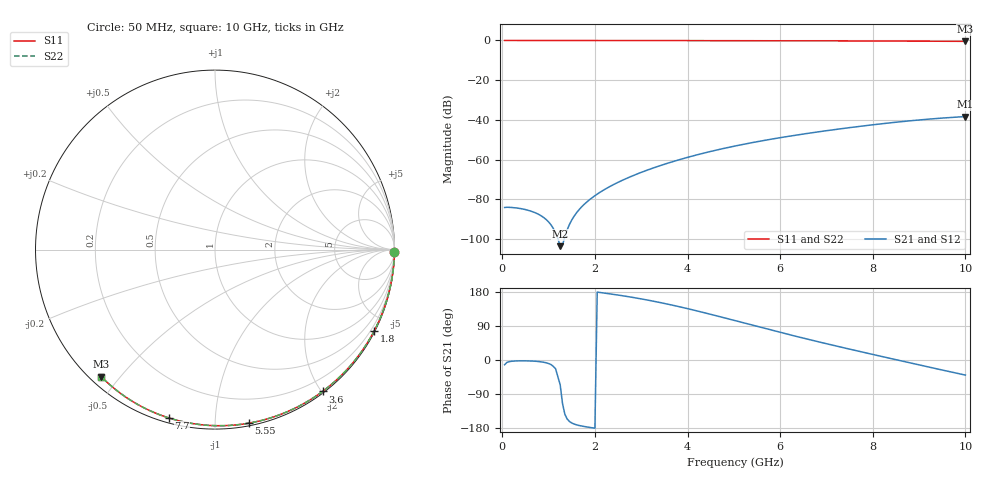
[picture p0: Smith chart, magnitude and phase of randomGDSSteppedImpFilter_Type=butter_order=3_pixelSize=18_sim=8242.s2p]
! freq	dB(S11)	phase(S11)	dB(S12)	phase(S12)
!  dB(S21)	phase(S21)	dB(S22)	phase(S22)
!S-par simulation data
#  GHz  S  DB  R 50
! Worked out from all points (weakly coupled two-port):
!   200 points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, 50 MHz to 10 GHz, reference 50 ohm
!   highest |S21| = -38.33 dB at 10 GHz (marker M1); lowest = -103.6 dB at 1.25 GHz (marker M2)
!   lowest |S11| = -0.4 dB at 10 GHz (marker M3), VSWR 39.07, Z = 1.54 - j22.3 ohm
!   |S11| at or under -10 dB: nowhere
!   |S22| runs from -0.4 to 0.0 dB; largest |S21 - S12| = 0
!   S11 on the Smith chart (normalised r, x): 50 MHz: open; 1.8 GHz: 0.04, -4.16; 3.6 GHz: 0.02, -2.01; 5.55 GHz: 0.02, -1.21; 7.7 GHz: 0.02, -0.76; 10 GHz: 0.03, -0.45
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0.05  -0.00 -0.8  -84.10 -12.5  -84.10 -12.5  -0.00 -0.8
0.65  -0.01 -9.9  -86.17 -2.8  -86.17 -2.8  -0.01 -9.9
1.25  -0.02 -18.9  -103.56 -65.3  -103.56 -65.3  -0.02 -18.9
1.75  -0.03 -26.3  -82.92 -175.1  -82.92 -175.1  -0.03 -26.3
1.8  -0.03 -27.0  -81.83 -176.2  -81.83 -176.2  -0.03 -27.0
1.9  -0.04 -28.5  -79.87 -178.1  -79.87 -178.1  -0.04 -28.5
2.05  -0.04 -30.7  -77.34 179.2  -77.34 179.2  -0.04 -30.7
2.25  -0.04 -33.6  -74.47 175.8  -74.47 175.8  -0.04 -33.6
2.45  -0.05 -36.5  -71.99 172.3  -71.99 172.3  -0.05 -36.5
2.65  -0.05 -39.4  -69.79 168.5  -69.79 168.5  -0.05 -39.4
3  -0.06 -44.4  -66.41 161.3  -66.41 161.3  -0.06 -44.4
3.4  -0.07 -50.0  -63.08 151.8  -63.08 151.8  -0.07 -50.0
3.6  -0.07 -52.8  -61.58 146.7  -61.58 146.7  -0.07 -52.8
4.3  -0.09 -62.4  -57.01 126.7  -57.01 126.7  -0.09 -62.4
5.05  -0.11 -72.4  -53.02 103.2  -53.02 103.2  -0.11 -72.4
5.55  -0.13 -78.9  -50.77 87.2  -50.77 87.2  -0.13 -78.9
6.1  -0.15 -85.9  -48.57 69.9  -48.57 69.9  -0.15 -85.8
6.7  -0.18 -93.3  -46.42 51.8  -46.42 51.8  -0.18 -93.3
7.7  -0.24 -105.4  -43.29 23.0  -43.29 23.0  -0.24 -105.3
8.35  -0.29 -113.0  -41.53 5.0  -41.53 5.0  -0.29 -112.9
9.2  -0.36 -122.8  -39.62 -18.4  -39.62 -18.4  -0.36 -122.7
10  -0.44 -131.8  -38.33 -39.8  -38.33 -39.8  -0.44 -131.7
